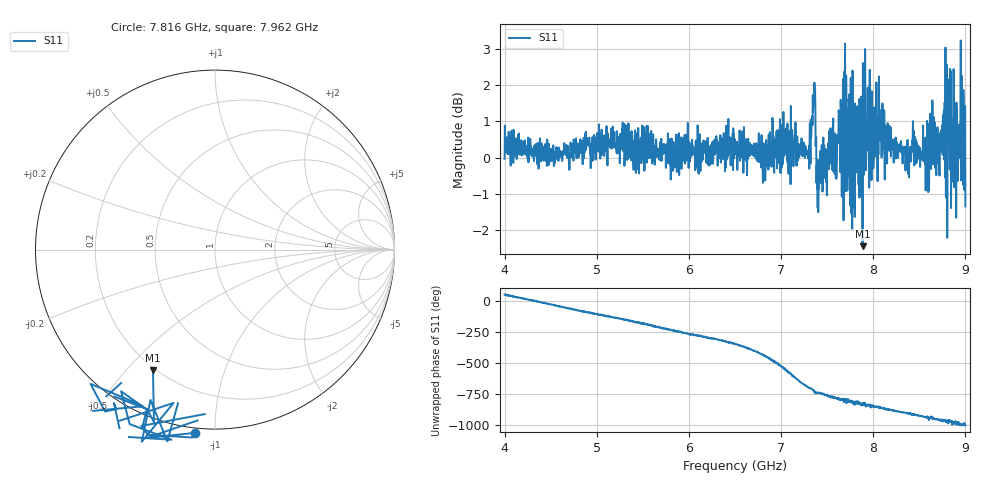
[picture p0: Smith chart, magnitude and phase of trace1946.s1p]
! Created with skrf 1.8.0 (http://scikit-rf.org).
# Hz S RI R 50.0
!freq ReS11 ImS11
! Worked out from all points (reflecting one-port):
!   1601 points, 4 GHz to 9 GHz, reference 50 ohm
!   lowest |S11| = -2.4 dB at 7.884 GHz (marker M1), VSWR 7.17, Z = 9.5 - j29.7 ohm
!   phase of S11 starts at 51 deg and turns -1054 deg over the sweep
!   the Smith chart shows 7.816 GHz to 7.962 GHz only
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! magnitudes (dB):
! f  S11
! 4 GHz  0.0
! 4.625 GHz  -0.1
! 5.25 GHz  -0.1
! 5.875 GHz  0.3
! 6.5 GHz  0.5
! 6.809 GHz  0.4
! 7.034 GHz  0.0
! 7.125 GHz  0.5
! 7.294 GHz  0.0
! 7.347 GHz  1.3
! 7.409 GHz  -0.6
! 7.541 GHz  0.0
! 7.594 GHz  -0.6
! 7.688 GHz  2.4
! 7.725 GHz  1.4
! 7.75 GHz  -1.3
! 7.884 GHz  -2.4
! 7.962 GHz  2.4
! 8.375 GHz  0.2
! 8.438 GHz  0.7
! 8.581 GHz  0.1
! 8.634 GHz  0.8
! 8.697 GHz  0.8
! 8.816 GHz  0.4
! 8.869 GHz  -0.6
! 8.959 GHz  2.3
! 8.972 GHz  0.6
! 9 GHz  -1.3
